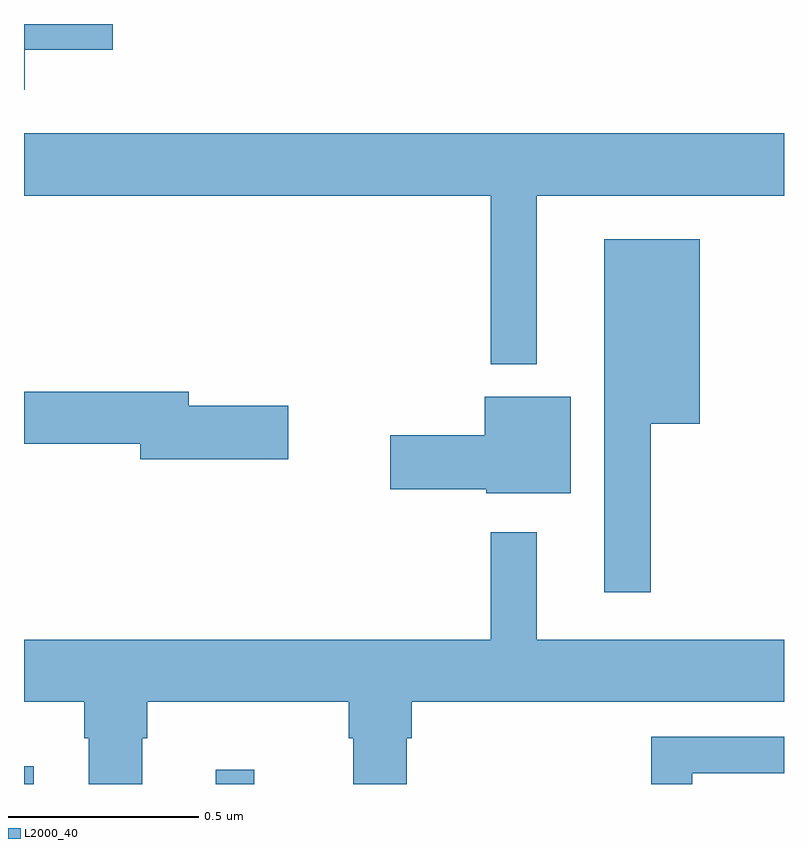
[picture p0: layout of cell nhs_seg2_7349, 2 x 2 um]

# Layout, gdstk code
import gdstk
lib = gdstk.Library(unit=1e-6, precision=1e-09)
def R(c, l, rs):  # rectangles x0, y0, x1, y1
    for r in rs: c.add(gdstk.rectangle(r[:2], r[2:], *l))
def P(c, l, *ps):  # polygons
    for p in ps: c.add(gdstk.Polygon(p, *l))
L2000_40 = (2000, 40)

nhs_seg2_7349 = lib.new_cell('nhs_seg2_7349')
R(nhs_seg2_7349, L2000_40, [(203,600.8,203.026,600.847), (203.504,600.8,203.606,600.838)])
P(nhs_seg2_7349, L2000_40, [(203.002,602.732),(203.233,602.732),(203.233,602.8),(203,602.8),(203,602.627),(203.002,602.627)],
  [(203,602.348),(204.228,602.348),(204.228,601.904),(204.349,601.904),(204.349,602.348),(205,602.348),(205,602.512),(203,602.512)],
  [(204.649,601.748),(204.778,601.748),(204.778,602.233),(204.527,602.233),(204.527,601.305),(204.649,601.305)],
  [(203.695,601.796),(203.434,601.796),(203.434,601.832),(203,601.832),(203,601.696),(203.306,601.696),(203.306,601.654),(203.695,601.654)],
  [(204.439,601.819),(204.212,601.819),(204.212,601.718),(203.964,601.718),(203.964,601.576),(204.216,601.576),(204.216,601.565),(204.439,601.565)],
  [(203.311,600.92),(203.324,600.92),(203.324,601.016),(203.855,601.016),(203.855,600.92),(203.867,600.92),(203.867,600.8),(204.007,600.8),(204.007,600.92),(204.02,600.92),(204.02,601.016),(205,601.016),(205,601.18),(204.349,601.18),(204.349,601.462),(204.228,601.462),(204.228,601.18),(203,601.18),(203,601.016),(203.159,601.016),(203.159,600.92),(203.171,600.92),(203.171,600.8),(203.311,600.8)],
  [(204.759,600.828),(205,600.828),(205,600.924),(204.651,600.924),(204.651,600.8),(204.759,600.8)])

lib.write_gds('nhs_seg2_7349.gds')
